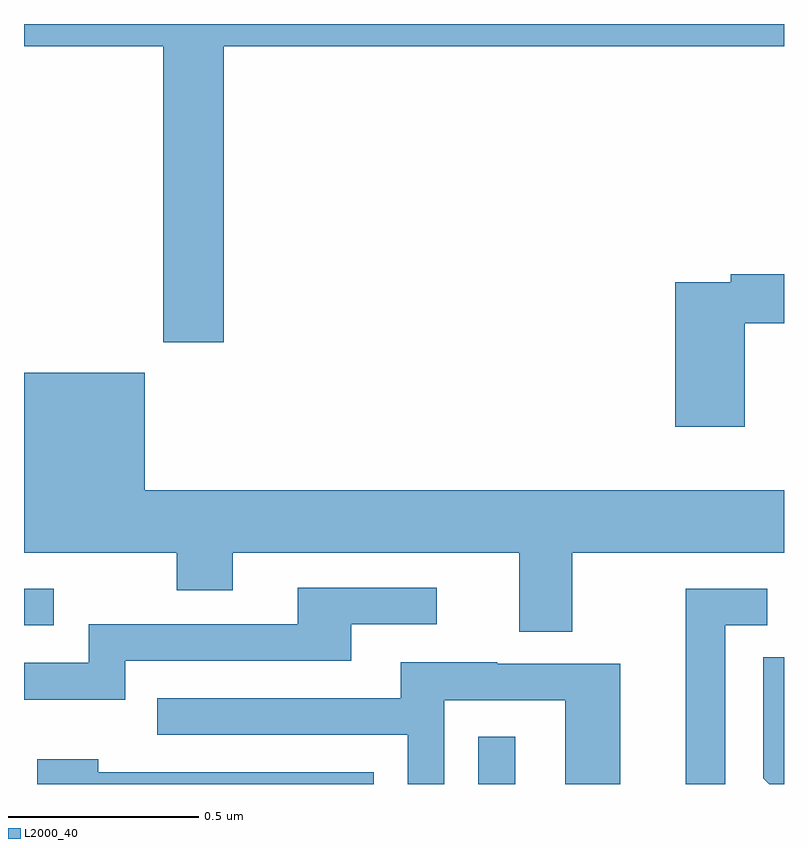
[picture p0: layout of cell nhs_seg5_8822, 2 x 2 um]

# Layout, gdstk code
import gdstk
lib = gdstk.Library(unit=1e-6, precision=1e-09)
def R(c, l, rs):  # rectangles x0, y0, x1, y1
    for r in rs: c.add(gdstk.rectangle(r[:2], r[2:], *l))
def P(c, l, *ps):  # polygons
    for p in ps: c.add(gdstk.Polygon(p, *l))
L2000_40 = (2000, 40)

nhs_seg5_8822 = lib.new_cell('nhs_seg5_8822')
R(nhs_seg5_8822, L2000_40, [(227.196,874.799,227.293,874.924), (226,875.217,226.078,875.313)])
P(nhs_seg5_8822, L2000_40, [(226.526,876.74),(228,876.74),(228,876.799),(226,876.799),(226,876.74),(226.366,876.74),(226.366,875.961),(226.526,875.961)],
  [(227.897,876.012),(228,876.012),(228,876.14),(227.86,876.14),(227.86,876.12),(227.714,876.12),(227.714,875.739),(227.897,875.739)],
  [(227.443,875.408),(228,875.408),(228,875.572),(226.318,875.572),(226.318,875.881),(226,875.881),(226,875.408),(226.402,875.408),(226.402,875.309),(226.549,875.309),(226.549,875.408),(227.303,875.408),(227.303,875.2),(227.443,875.2)],
  [(226.266,875.124),(226.861,875.124),(226.861,875.22),(227.086,875.22),(227.086,875.316),(226.721,875.316),(226.721,875.22),(226.17,875.22),(226.17,875.118),(226,875.118),(226,875.021),(226.266,875.021)],
  [(227.845,875.217),(227.956,875.217),(227.956,875.313),(227.741,875.313),(227.741,874.799),(227.845,874.799)],
  [(228,875.132),(227.946,875.132),(227.946,874.814),(227.961,874.799),(228,874.799)],
  [(227.106,875.019),(227.424,875.019),(227.424,874.799),(227.569,874.799),(227.569,875.115),(227.245,875.115),(227.245,875.119),(226.991,875.119),(226.991,875.025),(226.351,875.025),(226.351,874.929),(227.01,874.929),(227.01,874.799),(227.106,874.799)],
  [(226.92,874.83),(226.196,874.83),(226.196,874.864),(226.035,874.864),(226.035,874.799),(226.92,874.799)])

lib.write_gds('nhs_seg5_8822.gds')
